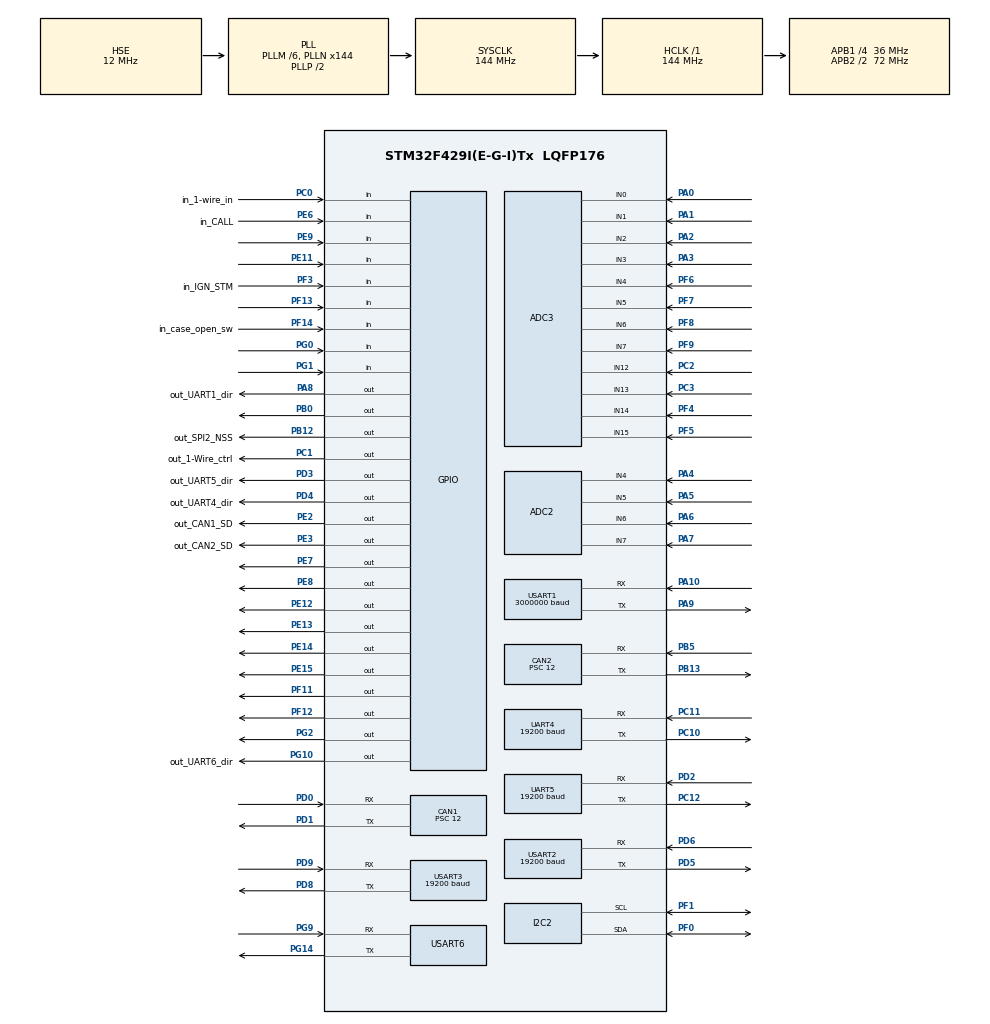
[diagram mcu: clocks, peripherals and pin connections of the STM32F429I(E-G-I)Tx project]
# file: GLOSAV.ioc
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ADC2.Channel-0\#ChannelRegularConversion=ADC_CHANNEL_4
ADC2.ClockPrescaler=ADC_CLOCKPRESCALER_PCLK_DIV8
ADC2.NbrOfConversionFlag=1
ADC2.Rank-0\#ChannelRegularConversion=1
ADC2.SamplingTime-0\#ChannelRegularConversion=ADC_SAMPLETIME_480CYCLES
ADC3.Channel=ADC_CHANNEL_14
ADC3.Channel-0\#ChannelRegularConversion=ADC_CHANNEL_4
ADC3.ClockPrescaler=ADC_CLOCKPRESCALER_PCLK_DIV8
ADC3.ContinuousConvMode=DISABLE
ADC3.DMAContinuousRequests=DISABLE
ADC3.DataAlign=ADC_DATAALIGN_RIGHT
ADC3.DiscontinuousConvMode=DISABLE
ADC3.EOCSelection=EOC_SINGLE_CONV
ADC3.EnableAnalogWatchDog=false
ADC3.ExternalTrigConvEdge=ADC_EXTERNALTRIGCONVEDGE_NONE
ADC3.InjNumberOfConversion=0
ADC3.NbrOfConversion=1
ADC3.Rank-0\#ChannelRegularConversion=1
ADC3.Resolution=ADC_RESOLUTION12b
ADC3.SamplingTime-0\#ChannelRegularConversion=ADC_SAMPLETIME_480CYCLES
ADC3.ScanConvMode=DISABLE
CAN1.BS1=CAN_BS1_11TQ
CAN1.BS2=CAN_BS2_2TQ
CAN1.CalculateTimeBit=4666
CAN1.CalculateTimeQuantum=333.33333333333337
CAN1.Prescaler=12
CAN2.BS1=CAN_BS1_11TQ
CAN2.BS2=CAN_BS2_2TQ
CAN2.CalculateTimeBit=4666
CAN2.CalculateTimeQuantum=333.33333333333337
CAN2.NART=ENABLE
CAN2.Prescaler=12
Dma.Request0=USART1_RX
Dma.Request1=USART1_TX
Dma.Request10=USART6_RX
Dma.Request11=USART6_TX
Dma.Request2=USART2_RX
Dma.Request3=USART2_TX
Dma.Request4=USART3_RX
Dma.Request5=USART3_TX
Dma.Request6=UART4_RX
Dma.Request7=UART4_TX
Dma.Request8=UART5_RX
Dma.Request9=UART5_TX
Dma.UART4_RX.6.Direction=DMA_PERIPH_TO_MEMORY
Dma.UART4_RX.6.FIFOMode=DMA_FIFOMODE_DISABLE
Dma.UART4_RX.6.Instance=DMA1_Stream2
Dma.UART4_RX.6.MemDataAlignment=DMA_MDATAALIGN_BYTE
Dma.UART4_RX.6.MemInc=DMA_MINC_ENABLE
Dma.UART4_RX.6.Mode=DMA_CIRCULAR
Dma.UART4_RX.6.PeriphDataAlignment=DMA_PDATAALIGN_BYTE
Dma.UART4_RX.6.PeriphInc=DMA_PINC_DISABLE
Dma.UART4_RX.6.Priority=DMA_PRIORITY_LOW
Dma.UART4_TX.7.Direction=DMA_MEMORY_TO_PERIPH
Dma.UART4_TX.7.FIFOMode=DMA_FIFOMODE_DISABLE
Dma.UART4_TX.7.Instance=DMA1_Stream4
Dma.UART4_TX.7.MemDataAlignment=DMA_MDATAALIGN_BYTE
Dma.UART4_TX.7.MemInc=DMA_MINC_ENABLE
Dma.UART4_TX.7.Mode=DMA_NORMAL
Dma.UART4_TX.7.PeriphDataAlignment=DMA_PDATAALIGN_BYTE
Dma.UART4_TX.7.PeriphInc=DMA_PINC_DISABLE
Dma.UART4_TX.7.Priority=DMA_PRIORITY_LOW
Dma.UART5_RX.8.Direction=DMA_PERIPH_TO_MEMORY
Dma.UART5_RX.8.FIFOMode=DMA_FIFOMODE_DISABLE
Dma.UART5_RX.8.Instance=DMA1_Stream0
Dma.UART5_RX.8.MemDataAlignment=DMA_MDATAALIGN_BYTE
Dma.UART5_RX.8.MemInc=DMA_MINC_ENABLE
Dma.UART5_RX.8.Mode=DMA_CIRCULAR
Dma.UART5_RX.8.PeriphDataAlignment=DMA_PDATAALIGN_BYTE
Dma.UART5_RX.8.PeriphInc=DMA_PINC_DISABLE
Dma.UART5_RX.8.Priority=DMA_PRIORITY_LOW
Dma.UART5_TX.9.Direction=DMA_MEMORY_TO_PERIPH
Dma.UART5_TX.9.FIFOMode=DMA_FIFOMODE_DISABLE
Dma.UART5_TX.9.Instance=DMA1_Stream7
Dma.UART5_TX.9.MemDataAlignment=DMA_MDATAALIGN_BYTE
Dma.UART5_TX.9.MemInc=DMA_MINC_ENABLE
Dma.UART5_TX.9.Mode=DMA_NORMAL
Dma.UART5_TX.9.PeriphDataAlignment=DMA_PDATAALIGN_BYTE
Dma.UART5_TX.9.PeriphInc=DMA_PINC_DISABLE
Dma.UART5_TX.9.Priority=DMA_PRIORITY_LOW
Dma.USART1_RX.0.Direction=DMA_PERIPH_TO_MEMORY
Dma.USART1_RX.0.FIFOMode=DMA_FIFOMODE_DISABLE
Dma.USART1_RX.0.Instance=DMA2_Stream2
Dma.USART1_RX.0.MemDataAlignment=DMA_MDATAALIGN_BYTE
Dma.USART1_RX.0.MemInc=DMA_MINC_ENABLE
Dma.USART1_RX.0.Mode=DMA_NORMAL
Dma.USART1_RX.0.PeriphDataAlignment=DMA_PDATAALIGN_BYTE
Dma.USART1_RX.0.PeriphInc=DMA_PINC_DISABLE
Dma.USART1_RX.0.Priority=DMA_PRIORITY_MEDIUM
Dma.USART1_TX.1.Direction=DMA_MEMORY_TO_PERIPH
Dma.USART1_TX.1.FIFOMode=DMA_FIFOMODE_DISABLE
Dma.USART1_TX.1.Instance=DMA2_Stream7
Dma.USART1_TX.1.MemDataAlignment=DMA_MDATAALIGN_BYTE
Dma.USART1_TX.1.MemInc=DMA_MINC_ENABLE
Dma.USART1_TX.1.Mode=DMA_NORMAL
Dma.USART1_TX.1.PeriphDataAlignment=DMA_PDATAALIGN_BYTE
Dma.USART1_TX.1.PeriphInc=DMA_PINC_DISABLE
Dma.USART1_TX.1.Priority=DMA_PRIORITY_MEDIUM
Dma.USART2_RX.2.Direction=DMA_PERIPH_TO_MEMORY
Dma.USART2_RX.2.FIFOMode=DMA_FIFOMODE_DISABLE
Dma.USART2_RX.2.Instance=DMA1_Stream5
Dma.USART2_RX.2.MemDataAlignment=DMA_MDATAALIGN_BYTE
Dma.USART2_RX.2.MemInc=DMA_MINC_ENABLE
Dma.USART2_RX.2.Mode=DMA_CIRCULAR
Dma.USART2_RX.2.PeriphDataAlignment=DMA_PDATAALIGN_BYTE
Dma.USART2_RX.2.PeriphInc=DMA_PINC_DISABLE
Dma.USART2_RX.2.Priority=DMA_PRIORITY_LOW
Dma.USART2_TX.3.Direction=DMA_MEMORY_TO_PERIPH
Dma.USART2_TX.3.FIFOMode=DMA_FIFOMODE_DISABLE
Dma.USART2_TX.3.Instance=DMA1_Stream6
Dma.USART2_TX.3.MemDataAlignment=DMA_MDATAALIGN_BYTE
Dma.USART2_TX.3.MemInc=DMA_MINC_ENABLE
Dma.USART2_TX.3.Mode=DMA_NORMAL
Dma.USART2_TX.3.PeriphDataAlignment=DMA_PDATAALIGN_BYTE
Dma.USART2_TX.3.PeriphInc=DMA_PINC_DISABLE
Dma.USART2_TX.3.Priority=DMA_PRIORITY_LOW
Dma.USART3_RX.4.Direction=DMA_PERIPH_TO_MEMORY
Dma.USART3_RX.4.FIFOMode=DMA_FIFOMODE_DISABLE
Dma.USART3_RX.4.Instance=DMA1_Stream1
Dma.USART3_RX.4.MemDataAlignment=DMA_MDATAALIGN_BYTE
Dma.USART3_RX.4.MemInc=DMA_MINC_ENABLE
Dma.USART3_RX.4.Mode=DMA_CIRCULAR
Dma.USART3_RX.4.PeriphDataAlignment=DMA_PDATAALIGN_BYTE
Dma.USART3_RX.4.PeriphInc=DMA_PINC_DISABLE
Dma.USART3_RX.4.Priority=DMA_PRIORITY_LOW
Dma.USART3_TX.5.Direction=DMA_MEMORY_TO_PERIPH
Dma.USART3_TX.5.FIFOMode=DMA_FIFOMODE_DISABLE
Dma.USART3_TX.5.Instance=DMA1_Stream3
Dma.USART3_TX.5.MemDataAlignment=DMA_MDATAALIGN_BYTE
Dma.USART3_TX.5.MemInc=DMA_MINC_ENABLE
Dma.USART3_TX.5.Mode=DMA_NORMAL
Dma.USART3_TX.5.PeriphDataAlignment=DMA_PDATAALIGN_BYTE
Dma.USART3_TX.5.PeriphInc=DMA_PINC_DISABLE
Dma.USART3_TX.5.Priority=DMA_PRIORITY_LOW
Dma.USART6_RX.10.Direction=DMA_PERIPH_TO_MEMORY
Dma.USART6_RX.10.FIFOMode=DMA_FIFOMODE_DISABLE
Dma.USART6_RX.10.Instance=DMA2_Stream1
Dma.USART6_RX.10.MemDataAlignment=DMA_MDATAALIGN_BYTE
Dma.USART6_RX.10.MemInc=DMA_MINC_ENABLE
Dma.USART6_RX.10.Mode=DMA_CIRCULAR
Dma.USART6_RX.10.PeriphDataAlignment=DMA_PDATAALIGN_BYTE
Dma.USART6_RX.10.PeriphInc=DMA_PINC_DISABLE
Dma.USART6_RX.10.Priority=DMA_PRIORITY_LOW
Dma.USART6_TX.11.Direction=DMA_MEMORY_TO_PERIPH
Dma.USART6_TX.11.FIFOMode=DMA_FIFOMODE_DISABLE
Dma.USART6_TX.11.Instance=DMA2_Stream6
Dma.USART6_TX.11.MemDataAlignment=DMA_MDATAALIGN_BYTE
Dma.USART6_TX.11.MemInc=DMA_MINC_ENABLE
Dma.USART6_TX.11.Mode=DMA_NORMAL
Dma.USART6_TX.11.PeriphDataAlignment=DMA_PDATAALIGN_BYTE
Dma.USART6_TX.11.PeriphInc=DMA_PINC_DISABLE
Dma.USART6_TX.11.Priority=DMA_PRIORITY_LOW
FREERTOS.HEAP_NUMBER=2
FREERTOS.INCLUDE_eTaskGetState=1
FREERTOS.INCLUDE_pcTaskGetTaskName=1
FREERTOS.INCLUDE_uxTaskGetStackHighWaterMark=1
FREERTOS.INCLUDE_vTaskDelayUntil=1
FREERTOS.INCLUDE_xTaskGetCurrentTaskHandle=1
FREERTOS.Tasks01=defaultTask,0,128,StartDefaultTask
FREERTOS.configCHECK_FOR_STACK_OVERFLOW=2
FREERTOS.configGENERATE_RUN_TIME_STATS=0
FREERTOS.configMAX_PRIORITIES=15
FREERTOS.configTOTAL_HEAP_SIZE=32768
FREERTOS.configUSE_MALLOC_FAILED_HOOK=1
FREERTOS.configUSE_TICK_HOOK=1
FREERTOS.configUSE_TIMERS=1
Mcu.Family=STM32F4
Mcu.Name=STM32F429I(E-G-I)Tx
Mcu.Package=LQFP176
NVIC.CAN1_RX0_IRQn=true\:10\:0\:true\:false\:true\:true
NVIC.DMA1_Stream0_IRQn=true\:5\:0\:false\:false\:true\:true
NVIC.DMA1_Stream1_IRQn=true\:5\:0\:false\:false\:true\:true
NVIC.DMA1_Stream2_IRQn=true\:5\:0\:false\:false\:true\:true
NVIC.DMA1_Stream3_IRQn=true\:5\:0\:false\:false\:true\:true
NVIC.DMA1_Stream4_IRQn=true\:5\:0\:false\:false\:true\:true
NVIC.DMA1_Stream5_IRQn=true\:5\:0\:false\:false\:true\:true
NVIC.DMA1_Stream6_IRQn=true\:5\:0\:false\:false\:true\:true
NVIC.DMA1_Stream7_IRQn=true\:5\:0\:false\:false\:true\:true
NVIC.DMA2_Stream1_IRQn=true\:5\:0\:false\:false\:true\:true
NVIC.DMA2_Stream2_IRQn=true\:5\:0\:false\:false\:true\:true
NVIC.DMA2_Stream6_IRQn=true\:5\:0\:false\:false\:true\:true
NVIC.DMA2_Stream7_IRQn=true\:5\:0\:false\:false\:true\:true
NVIC.PriorityGroup=NVIC_PRIORITYGROUP_4
NVIC.TIM2_IRQn=true\:7\:0\:true\:false\:true\:true
NVIC.TIM6_DAC_IRQn=true\:10\:0\:true\:false\:true\:true
NVIC.TIM7_IRQn=true\:5\:0\:false\:false\:true\:true
NVIC.UART4_IRQn=true\:10\:0\:true\:false\:true\:true
NVIC.UART5_IRQn=true\:10\:0\:true\:false\:true\:true
NVIC.USART1_IRQn=true\:10\:0\:true\:false\:true\:true
NVIC.USART2_IRQn=true\:10\:0\:true\:false\:true\:true
NVIC.USART3_IRQn=true\:10\:0\:true\:false\:true\:true
NVIC.USART6_IRQn=true\:10\:0\:true\:false\:true\:true
PA0/WKUP.Signal=ADCx_IN0
PA1.Signal=ADCx_IN1
PA10.Mode=Asynchronous
PA10.Signal=USART1_RX
PA2.Signal=ADCx_IN2
PA3.Signal=ADCx_IN3
PA4.Signal=ADCx_IN4
PA5.Signal=ADCx_IN5
PA6.Signal=ADCx_IN6
PA7.Signal=ADCx_IN7
PA8.GPIO_Label=out_UART1_dir
PA8.GPIO_ModeDefaultOutputPP=GPIO_MODE_OUTPUT_PP
PA8.GPIO_PuPd=GPIO_NOPULL
PA8.GPIO_Speed=GPIO_SPEED_LOW
PA8.Signal=GPIO_Output
PA9.Mode=Asynchronous
PA9.Signal=USART1_TX
PB0.Signal=GPIO_Output
PB10.Signal=SPI2_SCK
PB12.GPIO_Label=out_SPI2_NSS
PB12.GPIO_ModeDefaultOutputPP=GPIO_MODE_OUTPUT_PP
PB12.GPIO_PuPd=GPIO_NOPULL
PB12.GPIO_Speed=GPIO_SPEED_LOW
PB12.Signal=GPIO_Output
PB13.Mode=Slave
PB13.Signal=CAN2_TX
PB5.Mode=Slave
PB5.Signal=CAN2_RX
PC0.GPIO_Label=in_1-wire_in
PC0.GPIO_Mode=GPIO_MODE_INPUT
PC0.GPIO_PuPd=GPIO_NOPULL
PC0.Signal=GPIO_Input
PC1.GPIO_Label=out_1-Wire_ctrl
PC1.GPIO_ModeDefaultOutputPP=GPIO_MODE_OUTPUT_PP
PC1.GPIO_PuPd=GPIO_NOPULL
PC1.GPIO_Speed=GPIO_SPEED_LOW
PC1.Signal=GPIO_Output
PC10.Mode=Asynchronous
PC10.Signal=UART4_TX
PC11.Mode=Asynchronous
PC11.Signal=UART4_RX
PC12.Mode=Asynchronous
PC12.Signal=UART5_TX
PC14/OSC32_IN.Mode=LSE-External-Oscillator
PC14/OSC32_IN.Signal=RCC_OSC32_IN
PC15/OSC32_OUT.Mode=LSE-External-Oscillator
PC15/OSC32_OUT.Signal=RCC_OSC32_OUT
PC2.Signal=ADCx_IN12
PC3.Signal=ADCx_IN13
PD0.Mode=Master
PD0.Signal=CAN1_RX
PD1.Mode=Master
PD1.Signal=CAN1_TX
PD2.Mode=Asynchronous
PD2.Signal=UART5_RX
PD3.GPIO_Label=out_UART5_dir
PD3.GPIO_ModeDefaultOutputPP=GPIO_MODE_OUTPUT_PP
PD3.GPIO_PuPd=GPIO_NOPULL
PD3.GPIO_Speed=GPIO_SPEED_LOW
PD3.Signal=GPIO_Output
PD4.GPIO_Label=out_UART4_dir
PD4.GPIO_ModeDefaultOutputPP=GPIO_MODE_OUTPUT_PP
PD4.GPIO_PuPd=GPIO_NOPULL
PD4.GPIO_Speed=GPIO_SPEED_LOW
PD4.Signal=GPIO_Output
PD5.Mode=Asynchronous
PD5.Signal=USART2_TX
PD6.Mode=Asynchronous
PD6.Signal=USART2_RX
PD7.Signal=USART2_CK
PD8.Mode=Asynchronous
PD8.Signal=USART3_TX
PD9.Mode=Asynchronous
PD9.Signal=USART3_RX
PE11.GPIO_PuPd=GPIO_PULLUP
PE11.Signal=GPIO_Input
PE12.Signal=GPIO_Output
PE13.Signal=GPIO_Output
PE14.Signal=GPIO_Output
PE15.Signal=GPIO_Output
PE2.GPIO_Label=out_CAN1_SD
PE2.GPIO_ModeDefaultOutputPP=GPIO_MODE_OUTPUT_PP
PE2.GPIO_PuPd=GPIO_NOPULL
PE2.GPIO_Speed=GPIO_SPEED_LOW
PE2.Signal=GPIO_Output
PE3.GPIO_Label=out_CAN2_SD
PE3.GPIO_ModeDefaultOutputPP=GPIO_MODE_OUTPUT_PP
PE3.GPIO_PuPd=GPIO_NOPULL
PE3.GPIO_Speed=GPIO_SPEED_LOW
PE3.Signal=GPIO_Output
PE6.GPIO_Label=in_CALL
PE6.GPIO_Mode=GPIO_MODE_INPUT
PE6.GPIO_PuPd=GPIO_NOPULL
PE6.Signal=GPIO_Input
PE7.Signal=GPIO_Output
PE8.Signal=GPIO_Output
PE9.GPIO_PuPd=GPIO_PULLUP
PE9.Signal=GPIO_Input
PF0.Mode=I2C
PF0.Signal=I2C2_SDA
PF1.Mode=I2C
PF1.Signal=I2C2_SCL
PF11.Signal=GPIO_Output
PF12.Signal=GPIO_Output
PF13.Signal=GPIO_Input
PF14.GPIO_Label=in_case_open_sw
PF14.GPIO_Mode=GPIO_MODE_INPUT
PF14.GPIO_PuPd=GPIO_NOPULL
PF14.Signal=GPIO_Input
PF3.GPIO_Label=in_IGN_STM
PF3.GPIO_Mode=GPIO_MODE_INPUT
PF3.GPIO_PuPd=GPIO_NOPULL
PF3.Signal=GPIO_Input
PF4.Mode=IN14
PF4.Signal=ADC3_IN14
PF5.Mode=IN15
PF5.Signal=ADC3_IN15
PF6.Mode=IN4
PF6.Signal=ADC3_IN4
PF7.Mode=IN5
PF7.Signal=ADC3_IN5
PF8.Mode=IN6
PF8.Signal=ADC3_IN6
PF9.Mode=IN7
PF9.Signal=ADC3_IN7
PG0.Signal=GPIO_Input
PG1.Signal=GPIO_Input
PG10.GPIO_Label=out_UART6_dir
PG10.GPIO_ModeDefaultOutputPP=GPIO_MODE_OUTPUT_PP
PG10.GPIO_PuPd=GPIO_NOPULL
PG10.GPIO_Speed=GPIO_SPEED_LOW
PG10.Signal=GPIO_Output
PG14.Mode=Asynchronous
PG14.Signal=USART6_TX
PG2.Signal=GPIO_Output
PG9.Mode=Asynchronous
PG9.Signal=USART6_RX
PH0/OSC_IN.Mode=HSE-External-Oscillator
PH0/OSC_IN.Signal=RCC_OSC_IN
PH1/OSC_OUT.Mode=HSE-External-Oscillator
PH1/OSC_OUT.Signal=RCC_OSC_OUT
ProjectManager.HeapSize=0x200
ProjectManager.StackSize=0x400
ProjectManager.TargetToolchain=MDK-ARM V4
RCC.48MHZClocksFreq_Value=72000000
RCC.AHBFreq_Value=144000000
RCC.APB1CLKDivider=RCC_HCLK_DIV4
RCC.APB1Freq_Value=36000000
RCC.APB1TimFreq_Value=72000000
RCC.APB2CLKDivider=RCC_HCLK_DIV2
RCC.APB2Freq_Value=72000000
RCC.APB2TimFreq_Value=144000000
RCC.CortexFreq_Value=144000000
RCC.HCLKFreq_Value=144000000
RCC.HSE_VALUE=12000000
RCC.HSI_VALUE=16000000
RCC.PLLM=6
RCC.PLLN=144
RCC.PLLSourceVirtual=RCC_PLLSOURCE_HSE
RCC.SYSCLKFreq_VALUE=144000000
RCC.SYSCLKSource=RCC_SYSCLKSOURCE_PLLCLK
RCC.VCOOutputFreq_Value=288000000
SH.ADCx_IN0.0=ADC3_IN0,IN0
SH.ADCx_IN1.0=ADC3_IN1,IN1
SH.ADCx_IN12.0=ADC3_IN12,IN12
SH.ADCx_IN13.0=ADC3_IN13,IN13
SH.ADCx_IN2.0=ADC3_IN2,IN2
SH.ADCx_IN3.0=ADC3_IN3,IN3
SH.ADCx_IN4.0=ADC2_IN4,IN4
SH.ADCx_IN5.0=ADC2_IN5,IN5
SH.ADCx_IN6.0=ADC2_IN6,IN6
SH.ADCx_IN7.0=ADC2_IN7,IN7
TIM2.Period=3600
TIM6.Period=10000
TIM6.Prescaler=84
TIM7.Prescaler=84
UART4.BaudRate=19200
UART5.BaudRate=19200
USART1.BaudRate=3000000
USART1.OverSampling=UART_OVERSAMPLING_16
USART2.BaudRate=19200
USART3.BaudRate=19200
VP_FREERTOS_VS_ENABLE.Mode=Enabled
VP_TIM2_VS_ClockSourceINT.Mode=Internal
VP_TIM6_VS_ClockSourceINT.Mode=Enable_Timer
VP_TIM7_VS_ClockSourceINT.Mode=Enable_Timer
board=GLOSAV

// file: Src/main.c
/**
  ******************************************************************************
  * File Name          : main.c
  * Description        : Main program body
  ******************************************************************************
  *
  * COPYRIGHT(c) 2016 STMicroelectronics
  *
  * Redistribution and use in source and binary forms, with or without modification,
  * are permitted provided that the following conditions are met:
  *   1. Redistributions of source code must retain the above copyright notice,
  *      this list of conditions and the following disclaimer.
  *   2. Redistributions in binary form must reproduce the above copyright notice,
  *      this list of conditions and the following disclaimer in the documentation
  *      and/or other materials provided with the distribution.
  *   3. Neither the name of STMicroelectronics nor the names of its contributors
  *      may be used to endorse or promote products derived from this software
  *      without specific prior written permission.
  *
  * THIS SOFTWARE IS PROVIDED BY THE COPYRIGHT HOLDERS AND CONTRIBUTORS "AS IS"
  * AND ANY EXPRESS OR IMPLIED WARRANTIES, INCLUDING, BUT NOT LIMITED TO, THE
  * IMPLIED WARRANTIES OF MERCHANTABILITY AND FITNESS FOR A PARTICULAR PURPOSE ARE
  * DISCLAIMED. IN NO EVENT SHALL THE COPYRIGHT HOLDER OR CONTRIBUTORS BE LIABLE
  * FOR ANY DIRECT, INDIRECT, INCIDENTAL, SPECIAL, EXEMPLARY, OR CONSEQUENTIAL
  * DAMAGES (INCLUDING, BUT NOT LIMITED TO, PROCUREMENT OF SUBSTITUTE GOODS OR
  * SERVICES; LOSS OF USE, DATA, OR PROFITS; OR BUSINESS INTERRUPTION) HOWEVER
  * CAUSED AND ON ANY THEORY OF LIABILITY, WHETHER IN CONTRACT, STRICT LIABILITY,
  * OR TORT (INCLUDING NEGLIGENCE OR OTHERWISE) ARISING IN ANY WAY OUT OF THE USE
  * OF THIS SOFTWARE, EVEN IF ADVISED OF THE POSSIBILITY OF SUCH DAMAGE.
  *
  ******************************************************************************
  */
#include "stm32f4xx_hal.h"
#include "cmsis_os.h"
#include "adc.h"
#include "can.h"
#include "dma.h"
#include "i2c.h"
#include "tim.h"
#include "usart.h"
#include "gpio.h"

/* USER CODE BEGIN Includes */
#include <stdio.h>
#include "config.h"
#include "usart_app.h"
#include "gpio_app.h"
#include "can_app.h"
#include "mfunc_app.h"
#include "sleep_app.h"
#include "discrete_input_app.h"
#include "count_input_app.h"
#include "mb.h"
#include "OneWire.h"

/* USER CODE END Includes */

void SystemClock_Config(void);
void MX_FREERTOS_Init(void);

int main(void)
{

  /* MCU Configuration----------------------------------------------------------*/

  /* Reset of all peripherals, Initializes the Flash interface and the Systick. */
  HAL_Init();

  /* Configure the system clock */
  SystemClock_Config();

  /* Initialize all configured peripherals */
  MX_GPIO_Init();
  MX_DMA_Init();
  MX_ADC2_Init();
  MX_ADC3_Init();
  MX_CAN1_Init();
  MX_CAN2_Init();
  MX_I2C2_Init();
  MX_TIM2_Init();
  MX_TIM6_Init();
  MX_TIM7_Init();
  MX_UART4_Init();
  MX_UART5_Init();
  MX_USART1_UART_Init();
  MX_USART2_UART_Init();
  MX_USART3_UART_Init();
  MX_USART6_UART_Init();

  /* USER CODE BEGIN 2 */
	MAIN_GPIO_Init();

	CAN_App_Init();
	Mfunc_App_Init();
	Discrete_Input_Init();
	Count_Input_App_Init();
//	OneWire_Init();
	uartsFifoInit();
	startUARTRcv(&huart2);	// console
	startUARTRcv(&huart3);	// RS-485 ext
	startUARTRcv(&huart4);	//
	startUARTRcv(&huart5);	// RS-485 ext
	startUARTRcv(&huart6);	// RS-485 ext
  /* USER CODE END 2 */

  /* Call init function for freertos objects (in freertos.c) */
  MX_FREERTOS_Init();

  /* Start scheduler */
  osKernelStart();

  /* We should never get here as control is now taken by the scheduler */

  /* Infinite loop */
  while (1)
  {

  }

}

/** System Clock Configuration
*/
void SystemClock_Config(void)
{

  RCC_OscInitTypeDef RCC_OscInitStruct;
  RCC_ClkInitTypeDef RCC_ClkInitStruct;

  __PWR_CLK_ENABLE();

  __HAL_PWR_VOLTAGESCALING_CONFIG(PWR_REGULATOR_VOLTAGE_SCALE1);

  RCC_OscInitStruct.OscillatorType = RCC_OSCILLATORTYPE_HSE;
  RCC_OscInitStruct.HSEState = RCC_HSE_ON;
  RCC_OscInitStruct.PLL.PLLState = RCC_PLL_ON;
  RCC_OscInitStruct.PLL.PLLSource = RCC_PLLSOURCE_HSE;
  RCC_OscInitStruct.PLL.PLLM = 6;
  RCC_OscInitStruct.PLL.PLLN = 144;
  RCC_OscInitStruct.PLL.PLLP = RCC_PLLP_DIV2;
  RCC_OscInitStruct.PLL.PLLQ = 4;
  HAL_RCC_OscConfig(&RCC_OscInitStruct);

  RCC_ClkInitStruct.ClockType = RCC_CLOCKTYPE_SYSCLK|RCC_CLOCKTYPE_PCLK1
                              |RCC_CLOCKTYPE_PCLK2;
  RCC_ClkInitStruct.SYSCLKSource = RCC_SYSCLKSOURCE_PLLCLK;
  RCC_ClkInitStruct.AHBCLKDivider = RCC_SYSCLK_DIV1;
  RCC_ClkInitStruct.APB1CLKDivider = RCC_HCLK_DIV4;
  RCC_ClkInitStruct.APB2CLKDivider = RCC_HCLK_DIV2;
  HAL_RCC_ClockConfig(&RCC_ClkInitStruct, FLASH_LATENCY_4);

  HAL_SYSTICK_Config(HAL_RCC_GetHCLKFreq()/1000);

  HAL_SYSTICK_CLKSourceConfig(SYSTICK_CLKSOURCE_HCLK);

  /* SysTick_IRQn interrupt configuration */
  HAL_NVIC_SetPriority(SysTick_IRQn, 15, 0);
}

/************************ (C) COPYRIGHT STMicroelectronics *****END OF FILE****/

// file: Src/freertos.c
/**
  ******************************************************************************
  * File Name          : freertos.c
  * Description        : Code for freertos applications
  ******************************************************************************
  *
  * COPYRIGHT(c) 2016 STMicroelectronics
  *
  * Redistribution and use in source and binary forms, with or without modification,
  * are permitted provided that the following conditions are met:
  *   1. Redistributions of source code must retain the above copyright notice,
  *      this list of conditions and the following disclaimer.
  *   2. Redistributions in binary form must reproduce the above copyright notice,
  *      this list of conditions and the following disclaimer in the documentation
  *      and/or other materials provided with the distribution.
  *   3. Neither the name of STMicroelectronics nor the names of its contributors
  *      may be used to endorse or promote products derived from this software
  *      without specific prior written permission.
  *
  * THIS SOFTWARE IS PROVIDED BY THE COPYRIGHT HOLDERS AND CONTRIBUTORS "AS IS"
  * AND ANY EXPRESS OR IMPLIED WARRANTIES, INCLUDING, BUT NOT LIMITED TO, THE
  * IMPLIED WARRANTIES OF MERCHANTABILITY AND FITNESS FOR A PARTICULAR PURPOSE ARE
  * DISCLAIMED. IN NO EVENT SHALL THE COPYRIGHT HOLDER OR CONTRIBUTORS BE LIABLE
  * FOR ANY DIRECT, INDIRECT, INCIDENTAL, SPECIAL, EXEMPLARY, OR CONSEQUENTIAL
  * DAMAGES (INCLUDING, BUT NOT LIMITED TO, PROCUREMENT OF SUBSTITUTE GOODS OR
  * SERVICES; LOSS OF USE, DATA, OR PROFITS; OR BUSINESS INTERRUPTION) HOWEVER
  * CAUSED AND ON ANY THEORY OF LIABILITY, WHETHER IN CONTRACT, STRICT LIABILITY,
  * OR TORT (INCLUDING NEGLIGENCE OR OTHERWISE) ARISING IN ANY WAY OUT OF THE USE
  * OF THIS SOFTWARE, EVEN IF ADVISED OF THE POSSIBILITY OF SUCH DAMAGE.
  *
  ******************************************************************************
  */

#include "FreeRTOS.h"
#include "task.h"
#include "cmsis_os.h"

/* USER CODE BEGIN Includes */
#include "tasks.h"

#include "mfunc_app.h"
#include "count_input_app.h"

/* USER CODE END Includes */

osThreadId defaultTaskHandle;

void StartDefaultTask(void const * argument);

void MX_FREERTOS_Init(void); /* (MISRA C 2004 rule 8.1) */

/* Hook prototypes */
void vApplicationTickHook(void);
void vApplicationStackOverflowHook(xTaskHandle xTask, signed char *pcTaskName);
void vApplicationMallocFailedHook(void);

/* USER CODE BEGIN 3 */
void vApplicationTickHook( void )
{
   /* This function will be called by each tick interrupt if
   configUSE_TICK_HOOK is set to 1 in FreeRTOSConfig.h. User code can be
   added here, but the tick hook is called from an interrupt context, so
   code must not attempt to block, and only the interrupt safe FreeRTOS API
   functions can be used (those that end in FromISR()). */

		Mfunc_TimerInterruptHandler();
		Count_Input_InterruptHandler();
}
/* USER CODE END 3 */

/* USER CODE BEGIN 4 */
void vApplicationStackOverflowHook(xTaskHandle xTask, signed char *pcTaskName)
{
   /* Run time stack overflow checking is performed if
   configCHECK_FOR_STACK_OVERFLOW is defined to 1 or 2. This hook function is
   called if a stack overflow is detected. */
}
/* USER CODE END 4 */

/* USER CODE BEGIN 5 */
void vApplicationMallocFailedHook(void)
{
   /* vApplicationMallocFailedHook() will only be called if
   configUSE_MALLOC_FAILED_HOOK is set to 1 in FreeRTOSConfig.h. It is a hook
   function that will get called if a call to pvPortMalloc() fails.
   pvPortMalloc() is called internally by the kernel whenever a task, queue,
   timer or semaphore is created. It is also called by various parts of the
   demo application. If heap_1.c or heap_2.c are used, then the size of the
   heap available to pvPortMalloc() is defined by configTOTAL_HEAP_SIZE in
   FreeRTOSConfig.h, and the xPortGetFreeHeapSize() API function can be used
   to query the size of free heap space that remains (although it does not
   provide information on how the remaining heap might be fragmented). */
}
/* USER CODE END 5 */

/* Init FreeRTOS */

void MX_FREERTOS_Init(void) {

  /* Create the thread(s) */
  /* definition and creation of defaultTask */
  osThreadDef(defaultTask, StartDefaultTask, osPriorityNormal, 0, 128);
  defaultTaskHandle = osThreadCreate(osThread(defaultTask), NULL);

  /* USER CODE BEGIN RTOS_THREADS */
  /* add threads, ... */
	startUserTasks();
  /* USER CODE END RTOS_THREADS */

}

/* StartDefaultTask function */
void StartDefaultTask(void const * argument)
{

  /* USER CODE BEGIN StartDefaultTask */
//  /* Infinite loop */
  for(;;)
  {
    osDelay(1);
  }
  /* USER CODE END StartDefaultTask */
}

/************************ (C) COPYRIGHT STMicroelectronics *****END OF FILE****/
